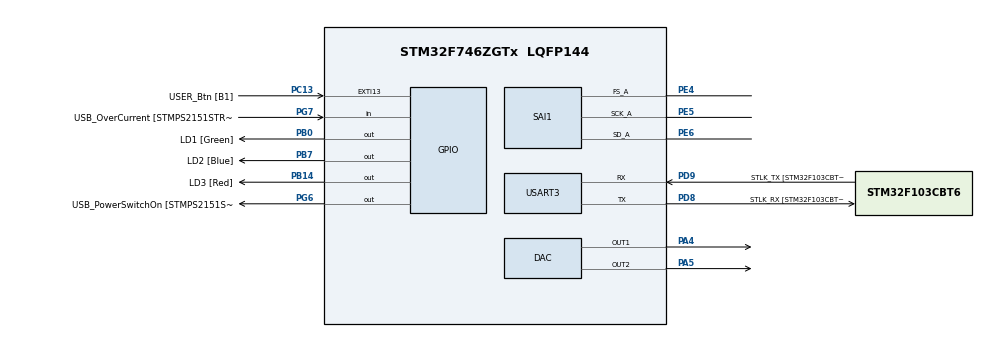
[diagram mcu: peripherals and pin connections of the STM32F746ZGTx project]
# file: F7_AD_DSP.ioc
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Mcu.Family=STM32F7
RCC.CortexFreq_Value=216000000
SAI1.VirtualMode-SAI_A_AsyncSlave=VM_SLAVE
PG6.Signal=GPIO_Output
PB14.GPIO_Label=LD3 [Red]
PG6.GPIO_Label=USB_PowerSwitchOn [STMPS2151STR_EN]
PA14.GPIO_Label=TCK
RCC.SYSCLKSourceVirtual=RCC_SYSCLKSOURCE_PLLCLK
SAI1.VirtualProtocol-SAI_A_BASIC=VM_BASIC_PROTOCOL
PB0.GPIO_Label=LD1 [Green]
PC13.GPIO_Label=USER_Btn [B1]
PB13.GPIO_Label=RMII_TXD1 [LAN8742A-CZ-TR_TXD1]
PB13.Signal=ETH_TXD1
PG13.Signal=ETH_TXD0
PD9.Mode=Asynchronous
PG11.Signal=ETH_TX_EN
RCC.SYSCLKSource=RCC_SYSCLKSOURCE_PLLCLK
ProjectManager.StackSize=0x4000
SH.COMP_DAC2_group.0=DAC_OUT2,DAC_OUT2
SAI1.Instance-SAI_A_AsyncSlave=SAI$Index_Block_A
USART3.VirtualMode-Asynchronous=VM_ASYNC
PA12.Signal=USB_OTG_FS_DP
PH0/OSC_IN.Mode=HSE-External-Oscillator
RCC.HCLKFreq_Value=216000000
RCC.APB2TimFreq_Value=216000000
PH1/OSC_OUT.Signal=RCC_OSC_OUT
PD8.Signal=USART3_TX
PE5.Signal=SAI1_SCK_A
RCC.AHBFreq_Value=216000000
RCC.HSE_VALUE=8000000
PB3.Mode=Trace_Asynchronous_SW
RCC.PLLMUL=RCC_PLL_MUL9
PC4.GPIO_Label=RMII_RXD0 [LAN8742A-CZ-TR_RXD0]
PA14.Mode=Trace_Asynchronous_SW
PA10.GPIO_Label=USB_ID
PB7.Signal=GPIO_Output
PA8.Signal=USB_OTG_FS_SOF
PE4.Mode=SAI_A_AsyncSlave
VP_FREERTOS_VS_CMSIS_V1.Mode=CMSIS_V1
NVIC.SAI1_IRQn=true\:5\:0\:false\:false\:true\:true\:true\:true
PE4.Signal=SAI1_FS_A
PH1/OSC_OUT.Mode=HSE-External-Oscillator
PB7.GPIO_Label=LD2 [Blue]
Mcu.Package=LQFP144
NVIC.TimeBase=TIM7_IRQn
PC14/OSC32_IN.Signal=RCC_OSC32_IN
PA2.GPIO_Label=RMII_MDIO [LAN8742A-CZ-TR_MDIO]
NVIC.TimeBaseIP=TIM7
PA10.Signal=USB_OTG_FS_ID
RCC.APB2CLKDivider=RCC_HCLK_DIV2
SAI1.BasicSlotNumber-SAI_A_AsyncSlave=8
RCC.APB1TimFreq_Value=108000000
PG11.GPIO_Label=RMII_TX_EN [LAN8742A-CZ-TR_TXEN]
PC5.Signal=ETH_RXD1
NVIC.TIM7_IRQn=true\:0\:0\:false\:false\:true\:false\:false\:true
PB3.GPIO_Label=SW0
RCC.PLLSourceVirtual=RCC_PLLSOURCE_HSE
SH.COMP_DAC1_group.0=DAC_OUT1,DAC_OUT1
FREERTOS.Tasks01=defaultTask,0,128,StartDefaultTask,Default,NULL,Dynamic,NULL,NULL
PG7.Signal=GPIO_Input
PD9.GPIO_Label=STLK_TX [STM32F103CBT6_PA2]
VP_ARM.CMSIS_VS_CMSISJjCORE_5.3.0_5.6.0.Mode=CMSISJjCORE
VP_SAI1_VP_$IpInstance_SAIA_SAI_BASIC.Mode=SAI_A_BASIC
PC13.Signal=GPXTI13
PA9.GPIO_Label=USB_VBUS
VP_SYS_VS_tim7.Mode=TIM7
PC4.Signal=ETH_RXD0
ARM.CMSIS.5.6.0.CMSISJjDSP=Library
PA11.GPIO_Label=USB_DM
PD9.Signal=USART3_RX
RCC.APB1CLKDivider=RCC_HCLK_DIV4
PG13.GPIO_Label=RMII_TXD0 [LAN8742A-CZ-TR_TXD0]
PA12.GPIO_Label=USB_DP
PD8.GPIO_Label=STLK_RX [STM32F103CBT6_PA3]
PA13.Signal=SYS_JTMS-SWDIO
PA8.GPIO_Label=USB_SOF [TP1]
SAI1.BasicDataSize-SAI_A_AsyncSlave=SAI_PROTOCOL_DATASIZE_24BIT
ProjectManager.TargetToolchain=STM32CubeIDE
PA9.Signal=USB_OTG_FS_VBUS
RCC.USBFreq_Value=216000000
RCC.LSE_VALUE=32768
PD8.Mode=Asynchronous
PA1.Signal=ETH_REF_CLK
ARM.CMSIS.5.6.0.CMSISJjCORE=true
PB14.Signal=GPIO_Output
PA5.Signal=COMP_DAC2_group
board=NUCLEO-F746ZG
RCC.VCOOutputFreq_Value=432000000
PH0/OSC_IN.Signal=RCC_OSC_IN
VP_ARM.CMSIS_VS_CMSISJjDSP_1.7.0_5.6.0.Mode=CMSISJjDSP
RCC.APB2Freq_Value=108000000
PE6.Mode=SAI_A_AsyncSlave
RCC.PRESCALERUSB=RCC_USBCLKSOURCE_PLL_DIV1_5
PG7.GPIO_Label=USB_OverCurrent [STMPS2151STR_FAULT]
PE5.Mode=SAI_A_AsyncSlave
PA1.GPIO_Label=RMII_REF_CLK [LAN8742A-CZ-TR_REFCLK0]
PC1.GPIO_Label=RMII_MDC [LAN8742A-CZ-TR_MDC]
PE6.Signal=SAI1_SD_A
PA13.Mode=Trace_Asynchronous_SW
Mcu.Name=STM32F746ZGTx
PA2.Signal=ETH_MDIO
PA13.GPIO_Label=TMS
RCC.48MHZClocksFreq_Value=24000000
PB3.Signal=SYS_JTDO-SWO
PA4.Signal=COMP_DAC1_group
RCC.SYSCLKFreq_VALUE=216000000
PA7.GPIO_Label=RMII_CRS_DV [LAN8742A-CZ-TR_CRS_DV]
PC5.GPIO_Label=RMII_RXD1 [LAN8742A-CZ-TR_RXD1]
PA11.Signal=USB_OTG_FS_DM
PA14.Signal=SYS_JTCK-SWCLK
ProjectManager.HeapSize=0x2000
RCC.HSI_VALUE=16000000
SAI1.InitProtocol-SAI_A_AsyncSlave=Enable
PH0/OSC_IN.GPIO_Label=MCO [STM32F103CBT6_PA8]
NVIC.PriorityGroup=NVIC_PRIORITYGROUP_4
RCC.PLLM=4
RCC.PLLN=216
PC15/OSC32_OUT.Signal=RCC_OSC32_OUT
RCC.APB1Freq_Value=54000000
PB0.Signal=GPIO_Output
PC1.Signal=ETH_MDC
PA7.Signal=ETH_CRS_DV

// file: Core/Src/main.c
/* USER CODE BEGIN Header */
/**
 ******************************************************************************
 * @file           : main.c
 * @brief          : Main program body
 ******************************************************************************
 * @attention
 *
 * <h2><center>&copy; Copyright (c) 2021 STMicroelectronics.
 * All rights reserved.</center></h2>
 *
 * This software component is licensed by ST under BSD 3-Clause license,
 * the "License"; You may not use this file except in compliance with the
 * License. You may obtain a copy of the License at:
 *                        opensource.org/licenses/BSD-3-Clause
 *
 ******************************************************************************
 */
/* USER CODE END Header */
#include "main.h"
#include "cmsis_os.h"
#include "dac.h"
#include "sai.h"
#include "usart.h"
#include "gpio.h"

/* USER CODE BEGIN Includes */
#include "fft.h"
/* USER CODE END Includes */

void SystemClock_Config(void);
void MX_FREERTOS_Init(void);

/* USER CODE BEGIN 0 */
fft_stuff_t fft_left;

s32 sai_data[8];

void HAL_SAI_RxCpltCallback(SAI_HandleTypeDef *hsai)
    {
//    HAL_DAC_SetValue(&hdac, DAC_CHANNEL_2, DAC_ALIGN_12B_R,
//	    2048 + (sai_data[0] >> 3));
    send_analog_data_from_isr(&fft_left, (sai_data[0] >> 8), (sai_data[1] >> 8),
	    (sai_data[2] >> 8));
    HAL_SAI_Receive_IT(&hsai_BlockA1, (u8*) &sai_data, 8);
    }

void led_task(void *argument)
    {
    for (;;)
	{
	vTaskDelay(500);
//	LD1_GPIO_Port->ODR |= LD1_Pin;
	vTaskDelay(500);
//	LD1_GPIO_Port->ODR &= ~LD1_Pin;
	if (sai_data[0] != 0)
	    {
	    LD3_GPIO_Port->ODR |= LD3_Pin;
	    }
	else
	    {
	    LD3_GPIO_Port->ODR &= ~LD3_Pin;
	    }
	}
    }
/* USER CODE END 0 */

int main(void)
    {

    /* MCU Configuration--------------------------------------------------------*/

    /* Reset of all peripherals, Initializes the Flash interface and the Systick. */
    HAL_Init();

    /* Configure the system clock */
    SystemClock_Config();

    /* Initialize all configured peripherals */
    MX_GPIO_Init();
    MX_DAC_Init();
    MX_SAI1_Init();
    MX_USART3_UART_Init();
    /* USER CODE BEGIN 2 */
    HAL_Delay(100);
    HAL_DAC_Start(&hdac, DAC_CHANNEL_2);
    FFT_init(&fft_left);
    xTaskCreate(led_task, "led", configMINIMAL_STACK_SIZE, NULL, osPriorityLow,
    NULL);
    HAL_SAI_Receive_IT(&hsai_BlockA1, (u8*) &sai_data, 8);
    /* USER CODE END 2 */

    /* Call init function for freertos objects (in freertos.c) */
    MX_FREERTOS_Init();
    /* Start scheduler */
    osKernelStart();

    /* We should never get here as control is now taken by the scheduler */
    /* Infinite loop */
    while (1)
	{

	}
    }

void SystemClock_Config(void)
    {
    RCC_OscInitTypeDef RCC_OscInitStruct =
	{
	0
	};
    RCC_ClkInitTypeDef RCC_ClkInitStruct =
	{
	0
	};
    RCC_PeriphCLKInitTypeDef PeriphClkInitStruct =
	{
	0
	};

    /** Configure the main internal regulator output voltage
     */
    __HAL_RCC_PWR_CLK_ENABLE();
    __HAL_PWR_VOLTAGESCALING_CONFIG(PWR_REGULATOR_VOLTAGE_SCALE1);
    /** Initializes the RCC Oscillators according to the specified parameters
     * in the RCC_OscInitTypeDef structure.
     */
    RCC_OscInitStruct.OscillatorType = RCC_OSCILLATORTYPE_HSE;
    RCC_OscInitStruct.HSEState = RCC_HSE_ON;
    RCC_OscInitStruct.PLL.PLLState = RCC_PLL_ON;
    RCC_OscInitStruct.PLL.PLLSource = RCC_PLLSOURCE_HSE;
    RCC_OscInitStruct.PLL.PLLM = 4;
    RCC_OscInitStruct.PLL.PLLN = 216;
    RCC_OscInitStruct.PLL.PLLP = RCC_PLLP_DIV2;
    RCC_OscInitStruct.PLL.PLLQ = 2;
    if (HAL_RCC_OscConfig(&RCC_OscInitStruct) != HAL_OK)
	{
	Error_Handler();
	}
    /** Activate the Over-Drive mode
     */
    if (HAL_PWREx_EnableOverDrive() != HAL_OK)
	{
	Error_Handler();
	}
    /** Initializes the CPU, AHB and APB buses clocks
     */
    RCC_ClkInitStruct.ClockType = RCC_CLOCKTYPE_HCLK | RCC_CLOCKTYPE_SYSCLK
	    | RCC_CLOCKTYPE_PCLK1 | RCC_CLOCKTYPE_PCLK2;
    RCC_ClkInitStruct.SYSCLKSource = RCC_SYSCLKSOURCE_PLLCLK;
    RCC_ClkInitStruct.AHBCLKDivider = RCC_SYSCLK_DIV1;
    RCC_ClkInitStruct.APB1CLKDivider = RCC_HCLK_DIV4;
    RCC_ClkInitStruct.APB2CLKDivider = RCC_HCLK_DIV2;

    if (HAL_RCC_ClockConfig(&RCC_ClkInitStruct, FLASH_LATENCY_7) != HAL_OK)
	{
	Error_Handler();
	}
    PeriphClkInitStruct.PeriphClockSelection = RCC_PERIPHCLK_USART3
	    | RCC_PERIPHCLK_SAI1;
    PeriphClkInitStruct.PLLSAI.PLLSAIN = 192;
    PeriphClkInitStruct.PLLSAI.PLLSAIR = 2;
    PeriphClkInitStruct.PLLSAI.PLLSAIQ = 2;
    PeriphClkInitStruct.PLLSAI.PLLSAIP = RCC_PLLSAIP_DIV2;
    PeriphClkInitStruct.PLLSAIDivQ = 1;
    PeriphClkInitStruct.PLLSAIDivR = RCC_PLLSAIDIVR_2;
    PeriphClkInitStruct.Sai1ClockSelection = RCC_SAI1CLKSOURCE_PLLSAI;
    PeriphClkInitStruct.Usart3ClockSelection = RCC_USART3CLKSOURCE_PCLK1;
    if (HAL_RCCEx_PeriphCLKConfig(&PeriphClkInitStruct) != HAL_OK)
	{
	Error_Handler();
	}
    }

void HAL_TIM_PeriodElapsedCallback(TIM_HandleTypeDef *htim)
    {
    if (htim->Instance == TIM7)
	{
	HAL_IncTick();
	}
    }

void Error_Handler(void)
    {
    __disable_irq();
    while (1)
	{
	}
    }

/************************ (C) COPYRIGHT STMicroelectronics *****END OF FILE****/
